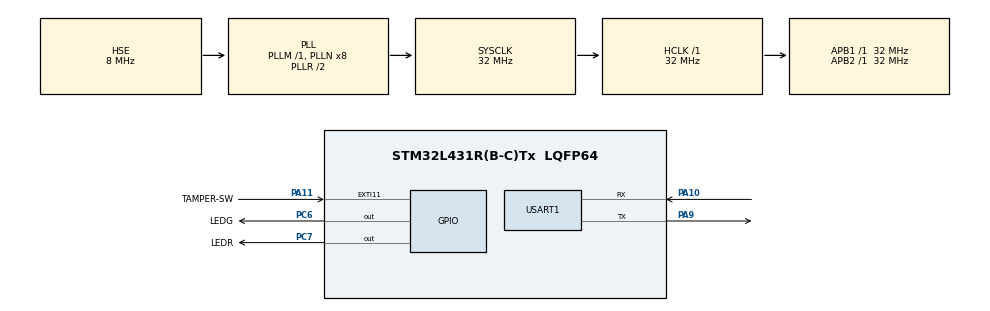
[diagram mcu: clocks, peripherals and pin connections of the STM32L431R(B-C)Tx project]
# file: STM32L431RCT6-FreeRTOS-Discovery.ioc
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Mcu.Family=STM32L4
Mcu.Name=STM32L431R(B-C)Tx
Mcu.Package=LQFP64
NVIC.EXTI15_10_IRQn=true\:0\:0\:false\:false\:true\:true\:true\:true
NVIC.PriorityGroup=NVIC_PRIORITYGROUP_4
NVIC.TIM1_UP_TIM16_IRQn=true\:15\:0\:false\:false\:true\:false\:true\:true
NVIC.TimeBase=TIM1_UP_TIM16_IRQn
NVIC.TimeBaseIP=TIM1
NVIC.USART1_IRQn=true\:0\:0\:false\:false\:true\:true\:true\:true
PA10.Mode=Asynchronous
PA10.Signal=USART1_RX
PA11.GPIO_Label=TAMPER-SW
PA11.Signal=GPXTI11
PA13\ (JTMS-SWDIO).Mode=Serial_Wire
PA13\ (JTMS-SWDIO).Signal=SYS_JTMS-SWDIO
PA14\ (JTCK-SWCLK).Mode=Serial_Wire
PA14\ (JTCK-SWCLK).Signal=SYS_JTCK-SWCLK
PA9.Mode=Asynchronous
PA9.Signal=USART1_TX
PC14-OSC32_IN\ (PC14).Mode=LSE-External-Oscillator
PC14-OSC32_IN\ (PC14).Signal=RCC_OSC32_IN
PC15-OSC32_OUT\ (PC15).Mode=LSE-External-Oscillator
PC15-OSC32_OUT\ (PC15).Signal=RCC_OSC32_OUT
PC6.GPIO_Label=LEDG
PC6.Signal=GPIO_Output
PC7.GPIO_Label=LEDR
PC7.Signal=GPIO_Output
PH0-OSC_IN\ (PH0).Mode=HSE-External-Clock-Source
PH0-OSC_IN\ (PH0).Signal=RCC_OSC_IN
ProjectManager.HeapSize=0x200
ProjectManager.StackSize=0x400
ProjectManager.TargetToolchain=STM32CubeIDE
RCC.ADCFreq_Value=32000000
RCC.AHBFreq_Value=32000000
RCC.APB1Freq_Value=32000000
RCC.APB1TimFreq_Value=32000000
RCC.APB2Freq_Value=32000000
RCC.APB2TimFreq_Value=32000000
RCC.CortexFreq_Value=32000000
RCC.HCLKFreq_Value=32000000
RCC.HSI48_VALUE=48000000
RCC.HSI_VALUE=16000000
RCC.MSI_VALUE=4000000
RCC.PLLSourceVirtual=RCC_PLLSOURCE_HSE
RCC.RTCClockSelection=RCC_RTCCLKSOURCE_LSE
RCC.SYSCLKFreq_VALUE=32000000
RCC.SYSCLKSource=RCC_SYSCLKSOURCE_PLLCLK
RCC.VCOOutputFreq_Value=64000000
RTC.Alarm-Alarm\ A=RTC_ALARM_A
RTC.AsynchPrediv=31
RTC.SynchPrediv=1023
USART1.VirtualMode-Asynchronous=VM_ASYNC
VP_RTC_VS_RTC_Activate.Mode=RTC_Enabled
VP_RTC_VS_RTC_Alarm_A_Intern.Mode=Alarm A
VP_RTC_VS_RTC_Calendar.Mode=RTC_Calendar
VP_SYS_VS_tim1.Mode=TIM1
board=custom

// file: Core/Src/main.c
/* USER CODE BEGIN Header */
/**
  ******************************************************************************
  * @file           : main.c
  * @brief          : Main program body
  ******************************************************************************
  * @attention
  *
  * Copyright (c) 2022 STMicroelectronics.
  * All rights reserved.
  *
  * This software is licensed under terms that can be found in the LICENSE file
  * in the root directory of this software component.
  * If no LICENSE file comes with this software, it is provided AS-IS.
  *
  ******************************************************************************
  */
/* USER CODE END Header */
#include "main.h"
#include "rtc.h"
#include "usart.h"
#include "gpio.h"

/* USER CODE BEGIN Includes */
#include "FreeRTOS.h"
#include "task.h"
/* USER CODE END Includes */

/* USER CODE BEGIN PTD */
system_flags sf;
/* USER CODE END PTD */

/* USER CODE BEGIN PV */
TaskHandle_t xGreenLEDTask_Handle;
TaskHandle_t xRedLEDTask_Handle;
/* USER CODE END PV */

void SystemClock_Config(void);

/* USER CODE BEGIN 0 */
void LED_Green_Task(void *pxParams);
void LED_Red_Task(void *pxParams);

void LED_Green_Task(void *pxParams)
{
	while(1)
	{
		 led_g_ctrl(2);
	     u1_print_str_rtc("LED-G\n");
	     HAL_Delay(1000);
	}
}

void LED_Red_Task(void *pxParams)
{
	while(1)
	{
		 led_r_ctrl(2);
		 u1_print_str_rtc("LED-R\n");
	     HAL_Delay(500);
	}
}
/* USER CODE END 0 */

int main(void)
{

  /* MCU Configuration--------------------------------------------------------*/

  /* Reset of all peripherals, Initializes the Flash interface and the Systick. */
  HAL_Init();

  /* Configure the system clock */
  SystemClock_Config();

  /* USER CODE BEGIN SysInit */
  SEGGER_SYSVIEW_Conf();
  vSetVarulMaxPRIGROUPValue();
  SEGGER_SYSVIEW_Start();
  /* USER CODE END SysInit */

  /* Initialize all configured peripherals */
  MX_GPIO_Init();
  MX_RTC_Init();
  MX_USART1_UART_Init();
  /* USER CODE BEGIN 2 */
  xTaskCreate(LED_Green_Task, "LED-G", 128, NULL, 1, &xGreenLEDTask_Handle);
  xTaskCreate(LED_Red_Task, "LED-R", 128, NULL, 1, &xRedLEDTask_Handle);
  vTaskStartScheduler();
  /* USER CODE END 2 */

  /* Infinite loop */
  while (1)
  {

  }
}

void SystemClock_Config(void)
{
  RCC_OscInitTypeDef RCC_OscInitStruct = {0};
  RCC_ClkInitTypeDef RCC_ClkInitStruct = {0};

  /** Configure the main internal regulator output voltage
  */
  if (HAL_PWREx_ControlVoltageScaling(PWR_REGULATOR_VOLTAGE_SCALE1) != HAL_OK)
  {
    Error_Handler();
  }

  /** Configure LSE Drive Capability
  */
  HAL_PWR_EnableBkUpAccess();
  __HAL_RCC_LSEDRIVE_CONFIG(RCC_LSEDRIVE_LOW);

  /** Initializes the RCC Oscillators according to the specified parameters
  * in the RCC_OscInitTypeDef structure.
  */
  RCC_OscInitStruct.OscillatorType = RCC_OSCILLATORTYPE_HSE|RCC_OSCILLATORTYPE_LSE;
  RCC_OscInitStruct.HSEState = RCC_HSE_BYPASS;
  RCC_OscInitStruct.LSEState = RCC_LSE_ON;
  RCC_OscInitStruct.PLL.PLLState = RCC_PLL_ON;
  RCC_OscInitStruct.PLL.PLLSource = RCC_PLLSOURCE_HSE;
  RCC_OscInitStruct.PLL.PLLM = 1;
  RCC_OscInitStruct.PLL.PLLN = 8;
  RCC_OscInitStruct.PLL.PLLP = RCC_PLLP_DIV7;
  RCC_OscInitStruct.PLL.PLLQ = RCC_PLLQ_DIV2;
  RCC_OscInitStruct.PLL.PLLR = RCC_PLLR_DIV2;
  if (HAL_RCC_OscConfig(&RCC_OscInitStruct) != HAL_OK)
  {
    Error_Handler();
  }

  /** Initializes the CPU, AHB and APB buses clocks
  */
  RCC_ClkInitStruct.ClockType = RCC_CLOCKTYPE_HCLK|RCC_CLOCKTYPE_SYSCLK
                              |RCC_CLOCKTYPE_PCLK1|RCC_CLOCKTYPE_PCLK2;
  RCC_ClkInitStruct.SYSCLKSource = RCC_SYSCLKSOURCE_PLLCLK;
  RCC_ClkInitStruct.AHBCLKDivider = RCC_SYSCLK_DIV1;
  RCC_ClkInitStruct.APB1CLKDivider = RCC_HCLK_DIV1;
  RCC_ClkInitStruct.APB2CLKDivider = RCC_HCLK_DIV1;

  if (HAL_RCC_ClockConfig(&RCC_ClkInitStruct, FLASH_LATENCY_1) != HAL_OK)
  {
    Error_Handler();
  }
}

void HAL_TIM_PeriodElapsedCallback(TIM_HandleTypeDef *htim)
{
  if (htim->Instance == TIM1) {
    HAL_IncTick();
  }
}

void Error_Handler(void)
{
  __disable_irq();
  while (1)
  {
  }
}
